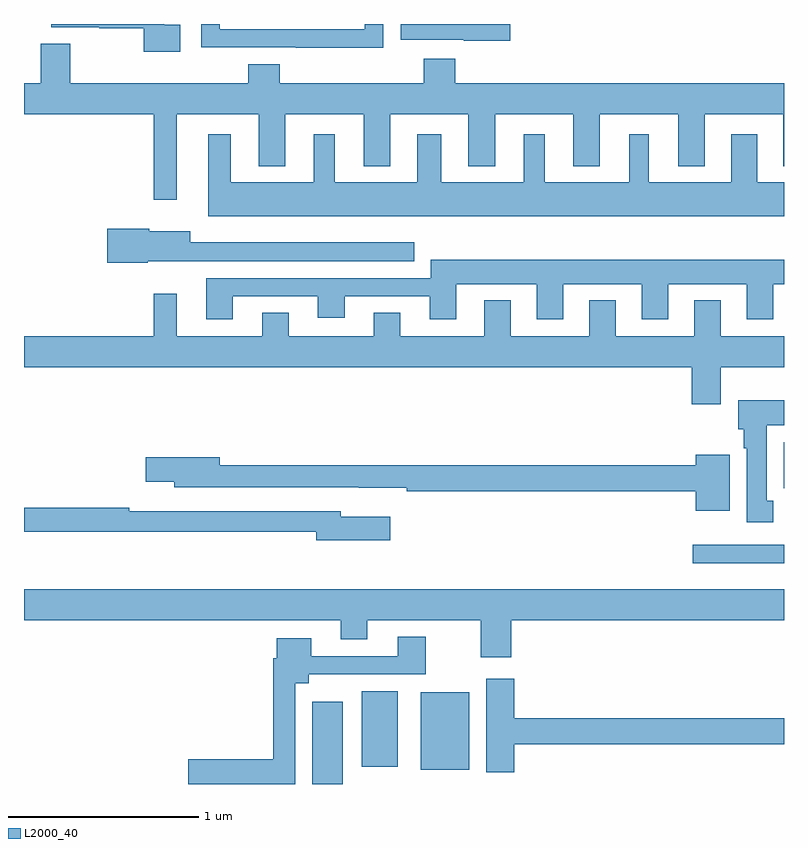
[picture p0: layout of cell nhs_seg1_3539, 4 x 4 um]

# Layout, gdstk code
import gdstk
lib = gdstk.Library(unit=1e-6, precision=1e-09)
def R(c, l, rs):  # rectangles x0, y0, x1, y1
    for r in rs: c.add(gdstk.rectangle(r[:2], r[2:], *l))
def P(c, l, *ps):  # polygons
    for p in ps: c.add(gdstk.Polygon(p, *l))
L2000_40 = (2000, 40)

nhs_seg1_3539 = lib.new_cell('nhs_seg1_3539')
R(nhs_seg1_3539, L2000_40, [(304.517,556.199,304.678,556.633), (305.087,556.274,305.344,556.681), (304.778,556.289,304.966,556.687), (306.519,557.36,307,557.457), (306.998,557.756,307,557.998)])
P(nhs_seg1_3539, L2000_40, [(304.89,560.199),(304.794,560.199),(304.794,560.172),(304.029,560.172),(304.029,560.199),(303.933,560.199),(303.933,560.076),(304.429,560.076),(304.429,560.075),(304.89,560.075)],
  [(305.56,560.199),(304.983,560.199),(304.983,560.115),(305.315,560.115),(305.315,560.111),(305.56,560.111)],
  [(303.823,560.194),(303.738,560.194),(303.738,560.199),(303.143,560.199),(303.143,560.181),(303.396,560.181),(303.396,560.176),(303.63,560.176),(303.63,560.054),(303.823,560.054)],
  [(303.805,559.724),(304.235,559.724),(304.235,559.451),(304.375,559.451),(304.375,559.724),(304.787,559.724),(304.787,559.451),(304.927,559.451),(304.927,559.724),(305.339,559.724),(305.339,559.451),(305.479,559.451),(305.479,559.724),(305.891,559.724),(305.891,559.451),(306.031,559.451),(306.031,559.724),(306.443,559.724),(306.443,559.451),(306.583,559.451),(306.583,559.724),(306.995,559.724),(306.995,559.451),(307,559.451),(307,559.888),(305.27,559.888),(305.27,560.017),(305.105,560.017),(305.105,559.888),(304.346,559.888),(304.346,559.987),(304.181,559.987),(304.181,559.888),(303.243,559.888),(303.243,560.096),(303.088,560.096),(303.088,559.888),(303,559.888),(303,559.724),(303.684,559.724),(303.684,559.275),(303.805,559.275)],
  [(307,559.366),(306.859,559.366),(306.859,559.618),(306.722,559.618),(306.722,559.366),(306.289,559.366),(306.289,559.618),(306.185,559.618),(306.185,559.366),(305.74,559.366),(305.74,559.618),(305.63,559.618),(305.63,559.366),(305.197,559.366),(305.197,559.618),(305.069,559.618),(305.069,559.366),(304.636,559.366),(304.636,559.618),(304.526,559.618),(304.526,559.366),(304.087,559.366),(304.087,559.618),(303.971,559.618),(303.971,559.187),(307,559.187)],
  [(303.65,558.95),(305.053,558.95),(305.053,559.051),(303.874,559.051),(303.874,559.108),(303.66,559.108),(303.66,559.121),(303.438,559.121),(303.438,558.943),(303.65,558.943)],
  [(304.099,558.765),(304.547,558.765),(304.547,558.653),(304.687,558.653),(304.687,558.765),(305.135,558.765),(305.135,558.645),(305.275,558.645),(305.275,558.83),(305.699,558.83),(305.699,558.645),(305.839,558.645),(305.839,558.83),(306.251,558.83),(306.251,558.645),(306.391,558.645),(306.391,558.83),(306.803,558.83),(306.803,558.645),(306.943,558.645),(306.943,558.83),(307,558.83),(307,558.958),(305.141,558.958),(305.141,558.861),(303.959,558.861),(303.959,558.645),(304.099,558.645)],
  [(306.667,558.392),(307,558.392),(307,558.556),(306.667,558.556),(306.667,558.745),(306.527,558.745),(306.527,558.556),(306.115,558.556),(306.115,558.745),(305.975,558.745),(305.975,558.556),(305.563,558.556),(305.563,558.745),(305.423,558.745),(305.423,558.556),(304.981,558.556),(304.981,558.68),(304.841,558.68),(304.841,558.556),(304.393,558.556),(304.393,558.68),(304.253,558.68),(304.253,558.556),(303.805,558.556),(303.805,558.778),(303.684,558.778),(303.684,558.556),(303,558.556),(303,558.392),(306.515,558.392),(306.515,558.198),(306.667,558.198)],
  [(306.943,557.69),(306.91,557.69),(306.91,558.086),(307,558.086),(307,558.22),(306.758,558.22),(306.758,558.066),(306.788,558.066),(306.788,557.966),(306.803,557.966),(306.803,557.577),(306.943,557.577)],
  [(306.715,557.932),(306.536,557.932),(306.536,557.876),(304.03,557.876),(304.03,557.919),(303.642,557.919),(303.642,557.789),(303.791,557.789),(303.791,557.76),(304.762,557.76),(304.762,557.759),(305.014,557.759),(305.014,557.74),(306.536,557.74),(306.536,557.636),(306.715,557.636)],
  [(304.927,557.605),(304.666,557.605),(304.666,557.634),(303.554,557.634),(303.554,557.654),(303,557.654),(303,557.526),(304.538,557.526),(304.538,557.483),(304.927,557.483)],
  [(305.564,557.06),(307,557.06),(307,557.224),(303,557.224),(303,557.06),(304.667,557.06),(304.667,556.961),(304.807,556.961),(304.807,557.06),(305.404,557.06),(305.404,556.866),(305.564,556.866)],
  [(304.428,556.73),(304.498,556.73),(304.498,556.776),(305.115,556.776),(305.115,556.975),(304.967,556.975),(304.967,556.872),(304.513,556.872),(304.513,556.966),(304.331,556.966),(304.331,556.862),(304.312,556.862),(304.312,556.328),(303.864,556.328),(303.864,556.199),(304.428,556.199)],
  [(305.579,556.408),(307,556.408),(307,556.544),(305.579,556.544),(305.579,556.753),(305.432,556.753),(305.432,556.261),(305.579,556.261)])

lib.write_gds('nhs_seg1_3539.gds')
